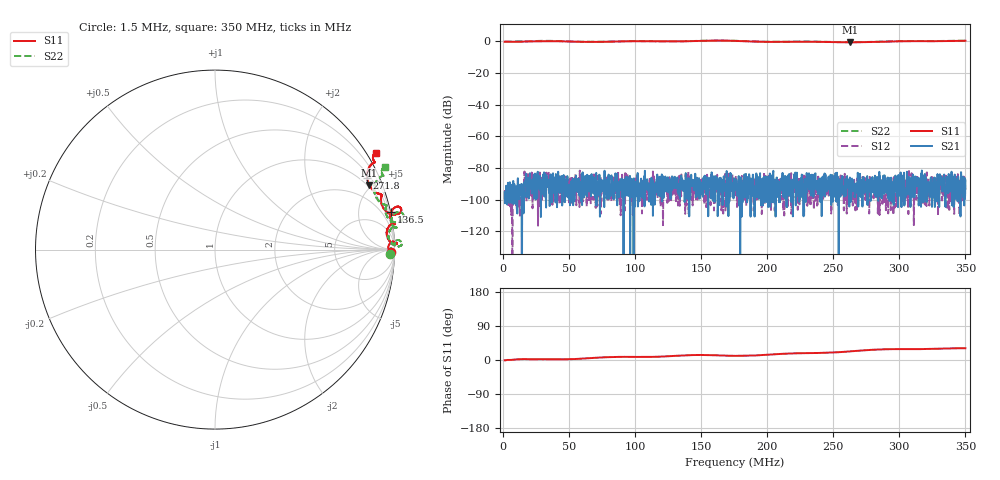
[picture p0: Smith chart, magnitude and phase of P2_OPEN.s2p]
# Hz S RI R 50
! RAW DATA - UNCALIBRATED
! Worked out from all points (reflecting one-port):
!   1601 points, 1.5 MHz to 350 MHz, reference 50 ohm
!   lowest |S11| = -0.6 dB at 262.7 MHz (marker M1), VSWR 28.03, Z = 44.7 + j241 ohm
!   phase of S11 starts at -1 deg and turns +32 deg over the sweep
!   S11 on the Smith chart (normalised r, x): 1.5 MHz: 61, -45; 136.5 MHz: -0.14, +9.46; 271.8 MHz: 0.67, +4.39; 350 MHz: -0.32, +3.58
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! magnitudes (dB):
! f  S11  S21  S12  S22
! 1.5 MHz  -0.2  -95.4  -99.9  -0.2
! 8.688 MHz  -0.3  -96.8  -100.1  -0.1
! 17.84 MHz  0.0  -83.7  -89.5  0.1
! 32.21 MHz  0.1  -96.0  -89.0  0.4
! 42.23 MHz  0.1  -87.9  -86.4  0.2
! 59.66 MHz  -0.3  -101.4  -97.7  -0.2
! 73.38 MHz  -0.3  -86.2  -90.5  -0.2
! 97.56 MHz  0.1  -86.8  -101.2  0.1
! 117.8 MHz  0.0  -86.0  -88.3  0.0
! 126.5 MHz  -0.1  -89.0  -99.5  -0.1
! 136.5 MHz  0.0  -94.6  -92.8  0.0
! 159.8 MHz  0.5  -85.2  -106.8  0.6
! 175.8 MHz  0.3  -89.8  -92.8  0.4
! 191 MHz  -0.1  -97.7  -90.8  -0.1
! 200.8 MHz  -0.3  -104.7  -90.1  -0.2
! 233.9 MHz  -0.2  -84.2  -86.7  -0.1
! 262.7 MHz  -0.6  -86.0  -93.2  -0.5
! 271.8 MHz  -0.6  -87.4  -92.8  -0.4
! 292.1 MHz  -0.1  -86.2  -85.3  0.0
! 307.3 MHz  0.1  -85.7  -81.9  0.2
! 333.9 MHz  0.2  -84.1  -91.9  0.2
! 350 MHz  0.4  -88.0  -93.8  0.5
